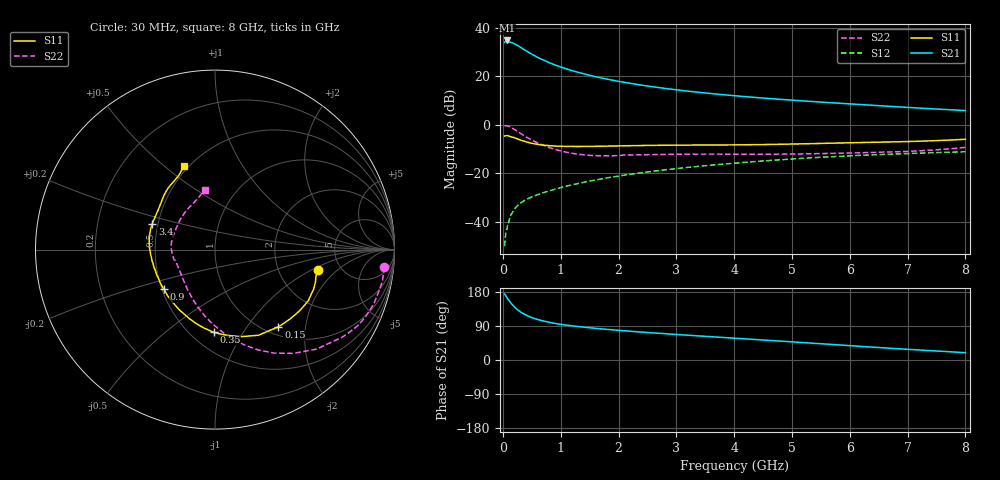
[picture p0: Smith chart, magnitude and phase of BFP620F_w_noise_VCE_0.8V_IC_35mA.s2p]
! Infineon Technologies  Discrete & RF Semiconductors
! BFP620F
! VCE =  0.8 V,  IC =  35 mA
! Common Emitter S-Parameters:  Dec 2014
# GHz  S  MA  R  50
!  f  S11  S21  S12  S22
! GHz  MAG  ANG  MAG  ANG  MAG  ANG  MAG  ANG
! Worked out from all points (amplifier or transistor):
!   95 points, 30 MHz to 8 GHz, reference 50 ohm
!   highest |S21| = 34.7 dB at 70 MHz (marker M1)
!   |S21| within 3 dB of that: start of sweep to 317.2 MHz
!   unconditionally stable (mu >= 1): 2.238 GHz to end of sweep
!   at 300 MHz: K = 0.42, MSG = 32.2 dB, |S12| = -32.5 dB
!   at 3.3 GHz: K = 1.03, MAG = 14.5 dB, |S12| = -17.4 dB
!   at 8 GHz: K = 1.06, MAG = 7.0 dB, |S12| = -11.2 dB
!   lowest NFmin = 1.25 dB at 450 MHz
!   S11 on the Smith chart (normalised r, x): 30 MHz: 3.35, -1.18; 150 MHz: 1.14, -1.43; 350 MHz: 0.64, -0.75; 900 MHz: 0.51, -0.26; 3.4 GHz: 0.47, +0.16; 8 GHz: 0.47, +0.58
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0.03  0.583 -11.5  50.03 174.3  0.0031 89.4  0.9474 -5.8
0.06  0.5923 -22.0  53.91 167.4  0.0067 80.6  0.9438 -13.4
0.07  0.5908 -25.0  54.35 164.8  0.0068 82.2  0.9388 -15.8
0.09  0.5868 -32.0  53.21 160.1  0.0096 77.7  0.9281 -20.9
0.12  0.5705 -42.0  50.15 153.9  0.0117 71.8  0.9 -28.2
0.15  0.5565 -50.6  49.42 148.4  0.0144 72.5  0.8591 -34.7
0.2  0.5351 -63.1  46.32 139.9  0.0182 68.5  0.7925 -44.4
0.25  0.5063 -73.4  43.19 133.0  0.0211 65.6  0.7249 -52.9
0.3  0.4818 -82.4  39.73 127.3  0.0238 63.0  0.6632 -60.4
0.35  0.4609 -91.0  36.18 122.5  0.0261 62.3  0.6078 -66.8
0.45  0.4254 -104.2  30.72 115.0  0.0302 60.4  0.5171 -77.8
0.6  0.3904 -120.6  24.47 107.0  0.0357 60.2  0.4176 -91.3
0.7  0.3763 -129.0  21.43 102.9  0.0394 60.0  0.3725 -99.1
0.9  0.3603 -142.3  17.04 96.7  0.0463 60.6  0.3082 -112.7
1.4  0.3541 -163.9  11.13 86.6  0.0645 61.3  0.2372 -141.2
2  0.3628 -179.6  7.807 78.3  0.0867 60.1  0.2292 -164.7
2.7  0.3734 167.7  5.791 70.5  0.1125 56.9  0.241 -177.9
3.4  0.3776 157.7  4.618 63.4  0.1383 53.0  0.2457 173.4
4.1  0.3819 149.0  3.852 56.6  0.1633 48.6  0.2444 164.8
5.4  0.4058 136.3  2.965 43.9  0.2082 39.0  0.2509 144.9
6.7  0.4384 123.6  2.374 31.0  0.2449 28.6  0.2727 123.9
8  0.4979 110.6  1.944 19.3  0.2749 18.6  0.3388 99.7
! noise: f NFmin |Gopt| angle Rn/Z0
0.45  1.25  0.11  -173  0.16
0.9  1.28  0.11  -172  0.13
1.5  1.29  0.16  -150  0.12
1.8  1.3  0.16  -150  0.13
1.9  1.3  0.16  -149  0.13
2.4  1.32  0.17  215  0.15
3.5  1.38  0.18  220  0.18
5.5  1.52  0.24  245  0.15
6  1.56  0.25  260  0.17
